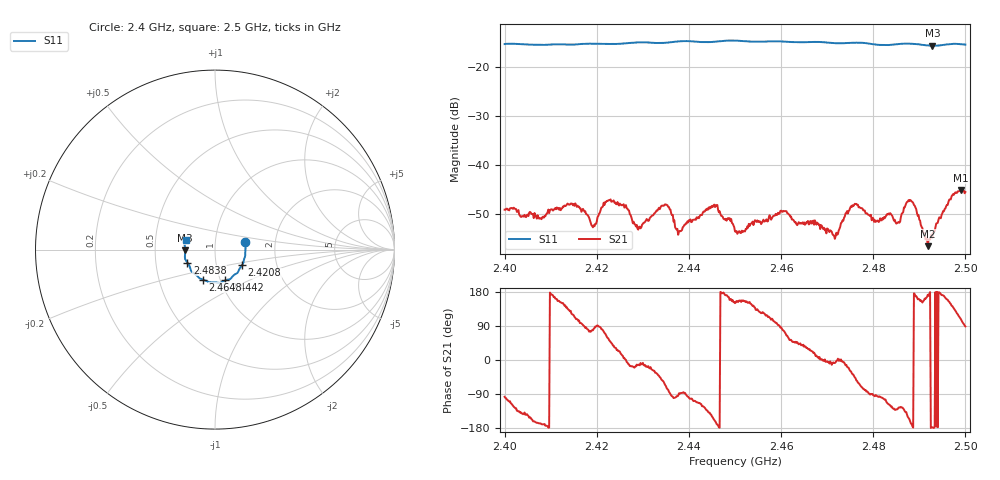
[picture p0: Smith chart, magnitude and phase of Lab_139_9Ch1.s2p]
# Hz S RI R 50
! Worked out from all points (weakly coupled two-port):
!   601 points, 2.4 GHz to 2.5 GHz, reference 50 ohm
!   highest |S21| = -45.16 dB at 2.499 GHz (marker M1); lowest = -56.7 dB at 2.4918 GHz (marker M2)
!   lowest |S11| = -15.6 dB at 2.4928 GHz (marker M3), VSWR 1.40, Z = 35.8 - j0.338 ohm
!   |S11| at or under -10 dB: start of sweep to end of sweep
!   S12 and S22 are empty: the file has one direction only
!   S11 on the Smith chart (normalised r, x): 2.4 GHz: 1.40, +0.12; 2.4208 GHz: 1.33, -0.24; 2.4442 GHz: 1.05, -0.37; 2.4648 GHz: 0.83, -0.29; 2.4838 GHz: 0.73, -0.11; 2.5 GHz: 0.72, +0.08
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2.4e9  0.1677 0.0411  -0.000431 -0.00345  0 0  0 0
2.416667e9  0.159 -0.0679  -0.000381 0.00329  0 0  0 0
2.419333e9  0.1538 -0.0816  0.000315 0.00238  0 0  0 0
2.420833e9  0.1506 -0.0868  0.000245 0.00343  0 0  0 0
2.425833e9  0.1335 -0.1132  0.00393 0.000329  0 0  0 0
2.429167e9  0.1265 -0.1275  0.00226 -0.0005  0 0  0 0
2.433333e9  0.1079 -0.1403  0.00268 -0.00227  0 0  0 0
2.438e9  0.0881 -0.1618  3.19e-05 -0.0021  0 0  0 0
2.444167e9  0.0566 -0.1714  -0.00255 -0.00238  0 0  0 0
2.45e9  0.0245 -0.1859  -0.0018 0.00104  0 0  0 0
2.460333e9  -0.0369 -0.1794  0.000604 0.00325  0 0  0 0
2.464833e9  -0.0684 -0.1668  0.00189 0.0016  0 0  0 0
2.466667e9  -0.08 -0.1628  0.00229 0.000998  0 0  0 0
2.471833e9  -0.101 -0.1445  0.00184 -0.000192  0 0  0 0
2.476e9  -0.1273 -0.1243  0.00277 -0.00288  0 0  0 0
2.483333e9  -0.1506 -0.0762  -0.00142 -0.00284  0 0  0 0
2.483833e9  -0.1534 -0.072  -0.00171 -0.00264  0 0  0 0
2.488167e9  -0.1675 -0.0471  -0.00422 -0.000957  0 0  0 0
2.491833e9  -0.1663 -0.0167  -0.00145 0.000205  0 0  0 0
2.492833e9  -0.1658 -0.0046  -0.0018 -6.29e-05  0 0  0 0
2.499e9  -0.1663 0.0453  -0.00173 0.00524  0 0  0 0
2.5e9  -0.1621 0.053  0.000126 0.00526  0 0  0 0
